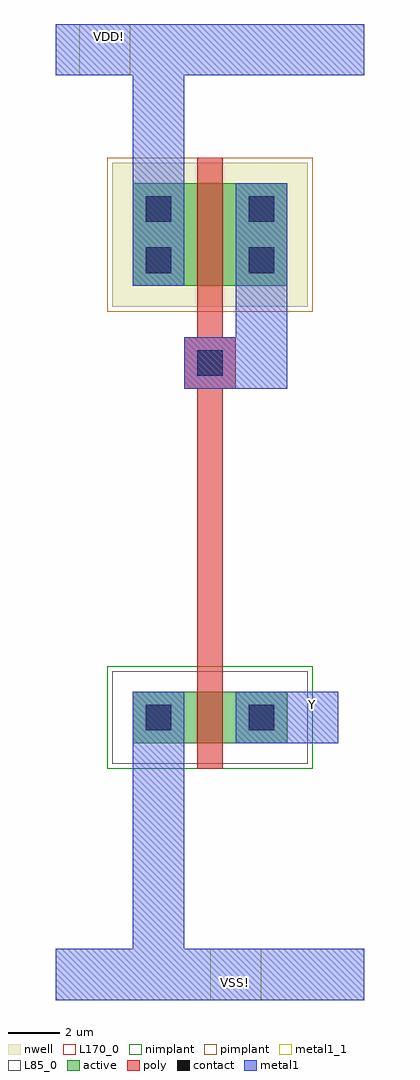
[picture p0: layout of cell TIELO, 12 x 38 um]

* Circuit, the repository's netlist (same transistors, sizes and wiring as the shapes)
* +++++++++++++++++++++++++++++++++++++++++++++++++++++++++ *
* CDL Netlist:                                              *
*                                                           *
* Cell Name  : TIELO                                        *
* Netlisted  : Fri Dec 17 10:19:19 2021                     *
* PVS Version: 16.15-s010 Fri Jun 28 22:24:07 PDT 2019      *
* +++++++++++++++++++++++++++++++++++++++++++++++++++++++++ *
*.LDD
*.DEVTMPLT 0 MN(nmos3) _nmos1v _soi_nd(D) poly_conn(G) _soi_nsb(S) _soi_nsb(B)
*.DEVTMPLT 1 MP(pmos3) _pmos1v _soi_pd(D) poly_conn(G) _soi_psb(S) _soi_psb(B)

* +++++++++++++++++++++++++++++++++++++++++++++++++++++++++ *
* Sub cell: nmos3_CDNS_2                                    *
* +++++++++++++++++++++++++++++++++++++++++++++++++++++++++ *
.subckt nmos3_CDNS_2 2 3 4
** N=4 EP=3 FDC=1
M0 3 4 2 2 nmos3 L=1e-06 W=2e-06 AD=5e-12 AS=0 PD=9e-06 PS=0 fw=2e-06 sa=2e-06 sb=2e-06 $X=7000 $Y=2000 $dt=0
.ends nmos3_CDNS_2

* +++++++++++++++++++++++++++++++++++++++++++++++++++++++++ *
* Sub cell: pmos3_CDNS_3                                    *
* +++++++++++++++++++++++++++++++++++++++++++++++++++++++++ *
.subckt pmos3_CDNS_3 2 3
** N=4 EP=2 FDC=1
M0 3 3 2 2 pmos3 L=1e-06 W=4e-06 AD=1e-11 AS=0 PD=1.3e-05 PS=0 fw=4e-06 sa=2e-06 sb=2e-06 $X=7000 $Y=2000 $dt=1
.ends pmos3_CDNS_3

* +++++++++++++++++++++++++++++++++++++++++++++++++++++++++ *
* Sub cell: TIELO                                           *
* +++++++++++++++++++++++++++++++++++++++++++++++++++++++++ *
.subckt TIELO VDD! VSS! Y
** N=5 EP=3 FDC=2
X0 VSS! Y 4 nmos3_CDNS_2 $T=20000 16000 1 180 $X=4000 $Y=16000
X1 VDD! 4 pmos3_CDNS_3 $T=20000 63600 0 180 $X=4000 $Y=49600
.ends TIELO

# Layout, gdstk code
from math import pi, radians
import gdstk
lib = gdstk.Library(unit=1e-6, precision=5e-10)
def R(c, l, rs):  # rectangles x0, y0, x1, y1
    for r in rs: c.add(gdstk.rectangle(r[:2], r[2:], *l))
active = (1, 0)
nwell = (2, 0)
poly = (3, 0)
nimplant = (4, 0)
pimplant = (5, 0)
contact = (6, 0)
metal1 = (7, 0)
metal1_1 = (7, 1)
L85_0 = (85, 0)
L170_0 = (170, 0)

nmos3_cdns_2 = lib.new_cell('nmos3_CDNS_2')
R(nmos3_cdns_2, active, [(1,1,7,3)])
R(nmos3_cdns_2, poly, [(3.5,0,4.5,5), (3.6,3.5,4.4,3.9)])
R(nmos3_cdns_2, nimplant, [(0,0,8,4)])
R(nmos3_cdns_2, contact, [(1.5,1.5,2.5,2.5), (5.5,1.5,6.5,2.5), (5.5,1.5,6.5,2.5)])
R(nmos3_cdns_2, metal1, [(1,1,3,3), (5,1,7,3), (1.3,1.3,2.7,2.7), (5.3,1.3,6.7,2.7)])
R(nmos3_cdns_2, L85_0, [(0.2,0.2,7.8,3.8)])
R(nmos3_cdns_2, L170_0, [(4.5,1,7,3)])

pmos3_cdns_3 = lib.new_cell('pmos3_CDNS_3')
R(pmos3_cdns_3, active, [(1,1,7,5)])
R(pmos3_cdns_3, nwell, [(0.2,0.2,7.8,5.8)])
R(pmos3_cdns_3, poly, [(3.5,0,4.5,7), (3.6,5.6,4.4,5.9)])
R(pmos3_cdns_3, pimplant, [(0,0,8,6)])
R(pmos3_cdns_3, contact, [(1.5,1.5,2.5,2.5), (5.5,1.5,6.5,2.5), (5.5,1.5,6.5,2.5), (1.5,3.5,2.5,4.5), (5.5,3.5,6.5,4.5)])
R(pmos3_cdns_3, metal1, [(1,1,3,5), (5,1,7,5), (1.3,1.3,2.7,2.7), (5.3,1.3,6.7,2.7)])
R(pmos3_cdns_3, L170_0, [(4.5,1,7,5)])

m1_po_cdns_1 = lib.new_cell('M1_PO_CDNS_1')
R(m1_po_cdns_1, poly, [(-1,-1,1,1)])
R(m1_po_cdns_1, contact, [(-0.5,-0.5,0.5,0.5)])
R(m1_po_cdns_1, metal1, [(-1,-1,1,1)])

tielo = lib.new_cell('TIELO')
R(tielo, metal1, [(7.2,9,11,11)])
R(tielo, metal1_1, [(6,-1,8,1), (9,9,11,11), (0.9,35,2.9,37)])
tielo.add(gdstk.FlexPath([(6,26.4),(6,11.1)], 1, ends="flush", simple_path=True, layer=3, datatype=0))  # poly
tielo.add(gdstk.FlexPath([(8,23.8),(6,23.8)], 2, ends=(1, 0), simple_path=True, layer=7, datatype=0))  # metal1
tielo.add(gdstk.FlexPath([(8,30.5),(8,23.8)], 2, ends=(0, 1), simple_path=True, layer=7, datatype=0))  # metal1
tielo.add(gdstk.FlexPath([(4,36),(12,36)], 2, ends=(1, 0), simple_path=True, layer=7, datatype=0))  # metal1
tielo.add(gdstk.FlexPath([(4,36),(4,37)], 2, ends=(1, 0), simple_path=True, layer=7, datatype=0))  # metal1
tielo.add(gdstk.FlexPath([(4,29.1),(4,36)], 2, ends=(0, 1), simple_path=True, layer=7, datatype=0))  # metal1
tielo.add(gdstk.FlexPath([(0,0),(4,0)], 2, ends=(0, 1), simple_path=True, layer=7, datatype=0))  # metal1
tielo.add(gdstk.FlexPath([(4,10.7),(4,0)], 2, ends=(0, 1), simple_path=True, layer=7, datatype=0))  # metal1
tielo.add(gdstk.FlexPath([(4,0),(12,0)], 2, ends=(1, 0), simple_path=True, layer=7, datatype=0))  # metal1
tielo.add(gdstk.FlexPath([(0,36),(4,36)], 2, ends=(0, 1), simple_path=True, layer=7, datatype=0))  # metal1
tielo.add(gdstk.Reference(nmos3_cdns_2, (10,8), rotation=pi, x_reflection=True))
tielo.add(gdstk.Reference(pmos3_cdns_3, (10,31.8), rotation=pi))
tielo.add(gdstk.Reference(m1_po_cdns_1, (6,23.8)))
tielo.add(gdstk.Label('Y', (10,10.5), layer=7, texttype=3))
tielo.add(gdstk.Label('VSS!', (7,-0.3), layer=7, texttype=3))
tielo.add(gdstk.Label('VDD!', (2.1,36.5), layer=7, texttype=3))

lib.write_gds('TIELO.gds')
